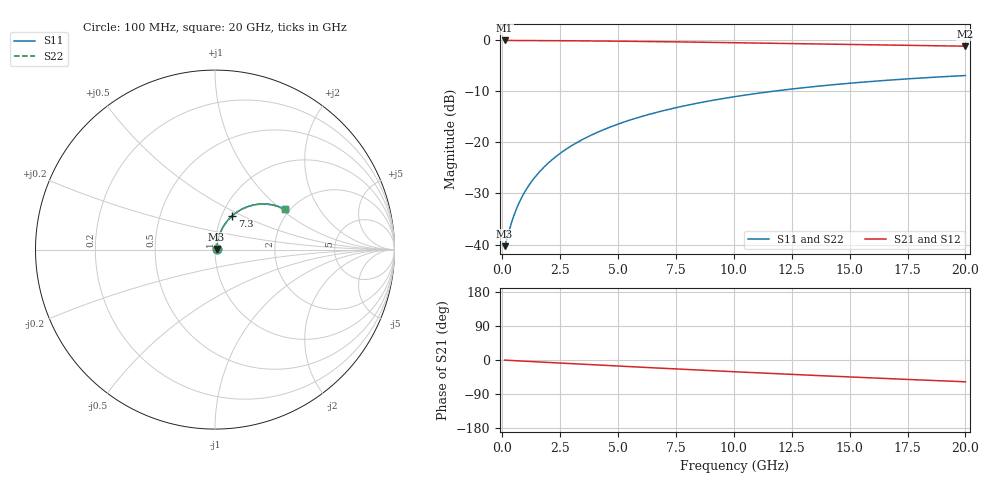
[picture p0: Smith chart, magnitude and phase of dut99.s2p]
! Touchstone file exported from HFSS 2026.1.0
!  File:  C:/ffzhzh/LocalFiles/Ansys_Project_Files/temp_train_TMRDL_99_1782881669_13352.aedt
!  Generated:  12:55:53 PM Jul  1, 2026
!  Design:  TMRDL
!  Project:  temp_train_TMRDL_99_1782881669_13352
! Variables:
!  h_bsmrdl = 2um
!  h_ox = 20um
!  h_rdl = 5um
!  h_sub = 80um
!  h_tmrdl = 3.18um
!  h_tsv = 80um
!  h_via = 3um
!  l_bsmrdl = 300um
!  l_sub = 1344.27um
!  l_tmrdl = 944.27um
!  m_sub = 200um
!  pitch = 26.03um
!  r_tsv = 6um
!  s_tmrdl = 10um
!  w_bsmrdl = 18um
!  w_sub = 500um
!  w_tmrdl = 11.57um
!  x_tsv_center1 = 950.055um
!  x_tsv_center2 = 1268.055um
!  x_tsv_center3 = 2223.895um
!  x_tsv_center4 = 2541.895um
!  x_tsv_center5 = 3497.735um
!  x_tsv_center6 = 3815.735um
# GHz S MA R 50.000000
! Terminal data exported
! Port[1] = TM_RDL1_1_T1
! Port[2] = TM_RDL1_1_T2
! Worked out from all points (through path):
!   200 points, 100 MHz to 20 GHz, reference 50 ohm
!   highest |S21| = -0.08 dB at 100 MHz (marker M1); lowest = -1.2 dB at 20 GHz (marker M2)
!   group delay of S21, straight-line fit = 7.99 ps
!   lowest |S11| = -40.3 dB at 100 MHz (marker M3), VSWR 1.02, Z = 50.9 + j0.342 ohm
!   |S11| at or under -10 dB: start of sweep to 11.73 GHz
!   |S22| runs from -40.3 to -6.9 dB; largest |S21 - S12| = 5.6e-15
!   S11 on the Smith chart (normalised r, x): 100 MHz: 1.02, +0.01; 7.3 GHz: 1.12, +0.45; 20 GHz: 1.89, +1.06
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0.1  0.009632 20.4  0.991 -0.3  0.991 -0.3  0.009632 20.4
! Gamma 0 0 0 0
! Port Impedance 50 0 50 0
0.4  0.01639 53.0  0.9904 -1.3  0.9904 -1.3  0.01639 53.0
0.6  0.02199 61.0  0.9898 -2.0  0.9898 -2.0  0.02199 61.0
0.7  0.02485 63.6  0.9896 -2.3  0.9896 -2.3  0.02485 63.6
0.9  0.03062 67.1  0.9891 -3.0  0.9891 -3.0  0.03062 67.1
1.1  0.03645 69.4  0.9887 -3.6  0.9887 -3.6  0.03645 69.4
1.3  0.04232 70.9  0.9883 -4.2  0.9883 -4.2  0.04232 70.9
1.7  0.05415 72.6  0.9875 -5.5  0.9875 -5.5  0.05415 72.6
2.2  0.06902 73.3  0.9862 -7.1  0.9862 -7.1  0.06903 73.3
2.8  0.08685 73.1  0.9844 -9.0  0.9844 -9.0  0.08685 73.1
3.5  0.1075 72.2  0.9819 -11.2  0.9819 -11.2  0.1075 72.2
4.2  0.1278 70.8  0.979 -13.4  0.979 -13.4  0.1278 70.8
5  0.1506 68.9  0.9751 -15.9  0.9751 -15.9  0.1506 68.9
5.9  0.1756 66.6  0.9702 -18.7  0.9702 -18.7  0.1756 66.6
6.8  0.1998 64.2  0.9647 -21.5  0.9647 -21.5  0.1998 64.2
7.3  0.2129 62.8  0.9615 -23.0  0.9615 -23.0  0.2129 62.8
8.6  0.2455 59.2  0.9526 -26.9  0.9526 -26.9  0.2456 59.2
10.1  0.2809 55.1  0.9417 -31.2  0.9417 -31.2  0.2809 55.1
11.7  0.3157 50.8  0.9296 -35.8  0.9296 -35.8  0.3157 50.8
13.4  0.3494 46.3  0.9167 -40.4  0.9167 -40.4  0.3494 46.3
16.7  0.4054 37.9  0.8925 -49.2  0.8925 -49.2  0.4055 37.8
20  0.4497 29.9  0.8709 -57.5  0.8709 -57.5  0.4498 29.8
